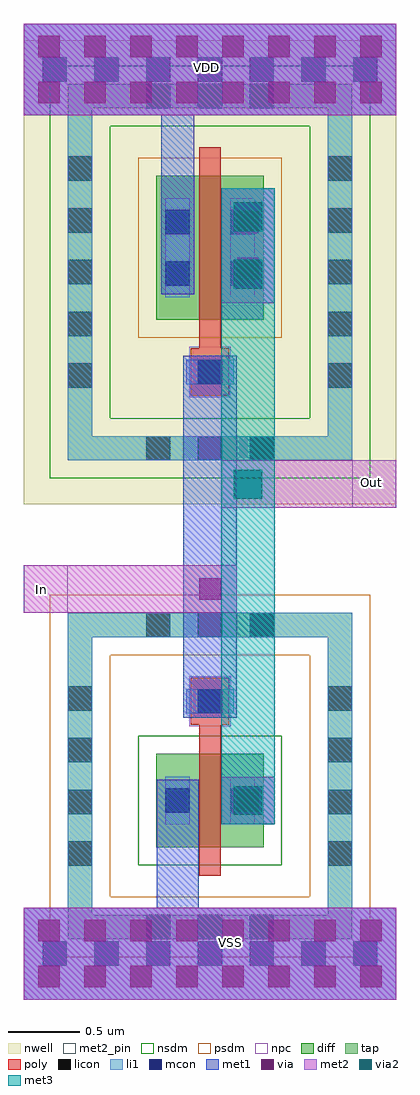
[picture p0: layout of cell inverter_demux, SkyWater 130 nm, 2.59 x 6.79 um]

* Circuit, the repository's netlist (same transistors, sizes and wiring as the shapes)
** sch_path: /foss/designs/RO_Aging_UNICASS/MUX/inverter_demux.sch
.subckt inverter_demux VDD Out In VSS
*.PININFO VDD:B Out:B VSS:B In:B
M3 Out In VSS VSS sky130_fd_pr__nfet_01v8 L=0.15 W=0.65 nf=1 ad='int((nf+1)/2) * W/nf * 0.29' as='int((nf+2)/2) * W/nf * 0.29' pd='2*int((nf+1)/2) * (W/nf + 0.29)'
+ ps='2*int((nf+2)/2) * (W/nf + 0.29)' nrd='0.29 / W' nrs='0.29 / W' sa=0 sb=0 sd=0 mult=1 m=1
M1 Out In VDD VDD sky130_fd_pr__pfet_01v8 L=0.15 W=1 nf=1 ad='int((nf+1)/2) * W/nf * 0.29' as='int((nf+2)/2) * W/nf * 0.29' pd='2*int((nf+1)/2) * (W/nf + 0.29)'
+ ps='2*int((nf+2)/2) * (W/nf + 0.29)' nrd='0.29 / W' nrs='0.29 / W' sa=0 sb=0 sd=0 mult=1 m=1
.ends
.end

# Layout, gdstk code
import gdstk
lib = gdstk.Library(unit=1e-6, precision=1e-09)
def R(c, l, rs):  # rectangles x0, y0, x1, y1
    for r in rs: c.add(gdstk.rectangle(r[:2], r[2:], *l))
def A(c, l, x, y, w, h, nx, ny, dx, dy):  # array of equal rectangles
    R(c, l, [(x+i*dx, y+j*dy, x+i*dx+w, y+j*dy+h) for i in range(nx) for j in range(ny)])
def P(c, l, *ps):  # polygons
    for p in ps: c.add(gdstk.Polygon(p, *l))
nwell = (64, 20)
diff = (65, 20)
tap = (65, 44)
poly = (66, 20)
licon = (66, 44)
li1 = (67, 20)
mcon = (67, 44)
met1 = (68, 20)
via = (68, 44)
met2_pin = (69, 16)
met2 = (69, 20)
via2 = (69, 44)
met3 = (70, 20)
nsdm = (93, 44)
psdm = (94, 20)
npc = (95, 20)

vias_gen_5 = lib.new_cell('vias_gen$5')
R(vias_gen_5, li1, [(0,0,2.59,0.64)])
A(vias_gen_5, mcon, 0.13, 0.235, 0.17, 0.17, 7, 1, 0.36, 0)
R(vias_gen_5, met1, [(0,0,2.59,0.64)])
A(vias_gen_5, via, 0.1, 0.085, 0.15, 0.15, 8, 2, 0.32, 0.32)
R(vias_gen_5, met2, [(0,0,2.59,0.64)])

vias_gen_2 = lib.new_cell('vias_gen$2')
R(vias_gen_2, met2, [(0,0,0.37,0.33)])
R(vias_gen_2, via2, [(0.085,0.065,0.285,0.265)])
R(vias_gen_2, met3, [(0,0,0.37,0.33)])

nfet = lib.new_cell('nfet')
R(nfet, diff, [(0,0,0.75,0.65)])
P(nfet, tap, [(-0.615,-0.64),(-0.615,1.46),(-0.445,1.46),(-0.445,-0.47),(1.195,-0.47),(1.195,1.46),(-0.615,1.46),(-0.615,1.63),(1.365,1.63),(1.365,-0.64)])
R(nfet, poly, [(0.3,-0.2,0.45,0.85), (0.24,0.85,0.51,1.18)])
A(nfet, licon, -0.07, -0.64, 0.17, 0.17, 3, 2, 0.36, 2.1)
A(nfet, licon, -0.615, -0.13, 0.17, 0.17, 1, 4, 0, 0.36)
A(nfet, licon, 1.195, -0.13, 0.17, 0.17, 1, 4, 0, 0.36)
R(nfet, licon, [(0.065,0.24,0.235,0.41), (0.515,0.24,0.685,0.41), (0.29,0.93,0.46,1.1)])
R(nfet, li1, [(0.065,0.16,0.235,0.49), (0.515,0.16,0.685,0.49), (0.21,0.93,0.54,1.1)])
P(nfet, li1, [(-0.615,-0.64),(-0.615,1.46),(-0.445,1.46),(-0.445,-0.47),(1.195,-0.47),(1.195,1.46),(-0.615,1.46),(-0.615,1.63),(1.365,1.63),(1.365,-0.64)])
R(nfet, mcon, [(0.065,0.24,0.235,0.41), (0.515,0.24,0.685,0.41), (0.29,0.93,0.46,1.1)])
R(nfet, met1, [(0.005,0.18,0.295,0.47), (0.455,0.18,0.745,0.47), (0.19,0.9,0.56,1.13)])
R(nfet, nsdm, [(-0.125,-0.125,0.875,0.775)])
P(nfet, psdm, [(-0.74,-0.765),(-0.74,1.335),(-0.32,1.335),(-0.32,-0.345),(1.07,-0.345),(1.07,1.335),(-0.74,1.335),(-0.74,1.755),(1.49,1.755),(1.49,-0.765)])
R(nfet, npc, [(0.23,0.84,0.52,1.19)])

vias_gen_3 = lib.new_cell('vias_gen$3')
R(vias_gen_3, met1, [(0,0,0.37,0.33)])
R(vias_gen_3, via, [(0.11,0.09,0.26,0.24)])
R(vias_gen_3, met2, [(0,0,0.37,0.33)])
R(vias_gen_3, via2, [(0.085,0.065,0.285,0.265)])
R(vias_gen_3, met3, [(0,0,0.37,0.33)])

pfet_1 = lib.new_cell('pfet$1')
R(pfet_1, nwell, [(-0.92,-1.285,1.67,1.945)])
R(pfet_1, diff, [(0,0,0.75,1)])
P(pfet_1, tap, [(-0.615,-0.98),(-0.615,1.47),(-0.445,1.47),(-0.445,-0.81),(1.195,-0.81),(1.195,1.47),(-0.615,1.47),(-0.615,1.64),(1.365,1.64),(1.365,-0.98)])
R(pfet_1, poly, [(0.24,-0.53,0.51,-0.2), (0.3,-0.2,0.45,1.2)])
A(pfet_1, licon, -0.07, -0.98, 0.17, 0.17, 3, 2, 0.36, 2.45)
A(pfet_1, licon, -0.615, -0.475, 0.17, 0.17, 1, 5, 0, 0.36)
A(pfet_1, licon, 1.195, -0.475, 0.17, 0.17, 1, 5, 0, 0.36)
R(pfet_1, licon, [(0.29,-0.45,0.46,-0.28), (0.065,0.235,0.235,0.405), (0.515,0.235,0.685,0.405), (0.065,0.595,0.235,0.765), (0.515,0.595,0.685,0.765)])
R(pfet_1, li1, [(0.21,-0.45,0.54,-0.28), (0.065,0.155,0.235,0.845), (0.515,0.155,0.685,0.845)])
P(pfet_1, li1, [(-0.615,-0.98),(-0.615,1.47),(-0.445,1.47),(-0.445,-0.81),(1.195,-0.81),(1.195,1.47),(-0.615,1.47),(-0.615,1.64),(1.365,1.64),(1.365,-0.98)])
R(pfet_1, mcon, [(0.29,-0.45,0.46,-0.28), (0.065,0.235,0.235,0.405), (0.515,0.235,0.685,0.405), (0.065,0.595,0.235,0.765), (0.515,0.595,0.685,0.765)])
R(pfet_1, met1, [(0.19,-0.48,0.56,-0.25), (0.035,0.175,0.265,0.825), (0.485,0.175,0.715,0.825)])
P(pfet_1, nsdm, [(-0.74,-1.105),(-0.74,1.345),(-0.32,1.345),(-0.32,-0.685),(1.07,-0.685),(1.07,1.345),(-0.74,1.345),(-0.74,1.765),(1.49,1.765),(1.49,-1.105)])
R(pfet_1, psdm, [(-0.125,-0.125,0.875,1.125)])
R(pfet_1, npc, [(0.23,-0.54,0.52,-0.19)])

vias_gen = lib.new_cell('vias_gen')
R(vias_gen, met1, [(0,0,0.37,0.33)])
R(vias_gen, via, [(0.11,0.09,0.26,0.24)])
R(vias_gen, met2, [(0,0,0.37,0.33)])

vias_gen_6 = lib.new_cell('vias_gen$6')
R(vias_gen_6, met1, [(0,0,0.37,0.8)])
R(vias_gen_6, via, [(0.11,0.165,0.26,0.315), (0.11,0.485,0.26,0.635)])
R(vias_gen_6, met2, [(0,0,0.37,0.8)])
R(vias_gen_6, via2, [(0.085,0.1,0.285,0.3), (0.085,0.5,0.285,0.7)])
R(vias_gen_6, met3, [(0,0,0.37,0.8)])

inverter_demux = lib.new_cell('inverter_demux')
R(inverter_demux, met1, [(6.16,-2.07,6.45,-2.06), (6.16,-2.06,6.45,-1.47), (6.345,-0.52,6.715,-0.02), (6.345,0.31,6.715,1.54), (6.19,2.845,6.42,3.505)])
R(inverter_demux, met2_pin, [(5.235,-2.71,7.825,-2.07), (5.235,-0.02,5.54,0.31), (7.52,0.71,7.825,1.04), (5.235,3.44,7.825,4.08)])
R(inverter_demux, met2, [(5.235,-0.02,6.345,0.31), (6.98,0.71,7.825,1.04)])
R(inverter_demux, met3, [(6.61,-1.16,6.98,0.71), (6.61,1.04,6.98,2.135)])
inverter_demux.add(gdstk.Reference(vias_gen_5, (5.235,3.44)))
inverter_demux.add(gdstk.Reference(vias_gen_2, (6.61,0.71)))
inverter_demux.add(gdstk.Reference(nfet, (6.155,-1.65)))
inverter_demux.add(gdstk.Reference(vias_gen_3, (6.61,-1.49)))
inverter_demux.add(gdstk.Reference(vias_gen_5, (5.235,-2.71)))
inverter_demux.add(gdstk.Reference(pfet_1, (6.155,2.02)))
inverter_demux.add(gdstk.Reference(vias_gen, (6.345,-0.02)))
inverter_demux.add(gdstk.Reference(vias_gen_6, (6.61,2.135)))
inverter_demux.add(gdstk.Label('VSS', (6.675,-2.31), layer=69, texttype=5))
inverter_demux.add(gdstk.Label('VDD', (6.505,3.775), layer=69, texttype=5))
inverter_demux.add(gdstk.Label('Out', (7.655,0.885), layer=69, texttype=5))
inverter_demux.add(gdstk.Label('In', (5.36,0.14), layer=69, texttype=5))

lib.write_gds('inverter_demux.gds')
